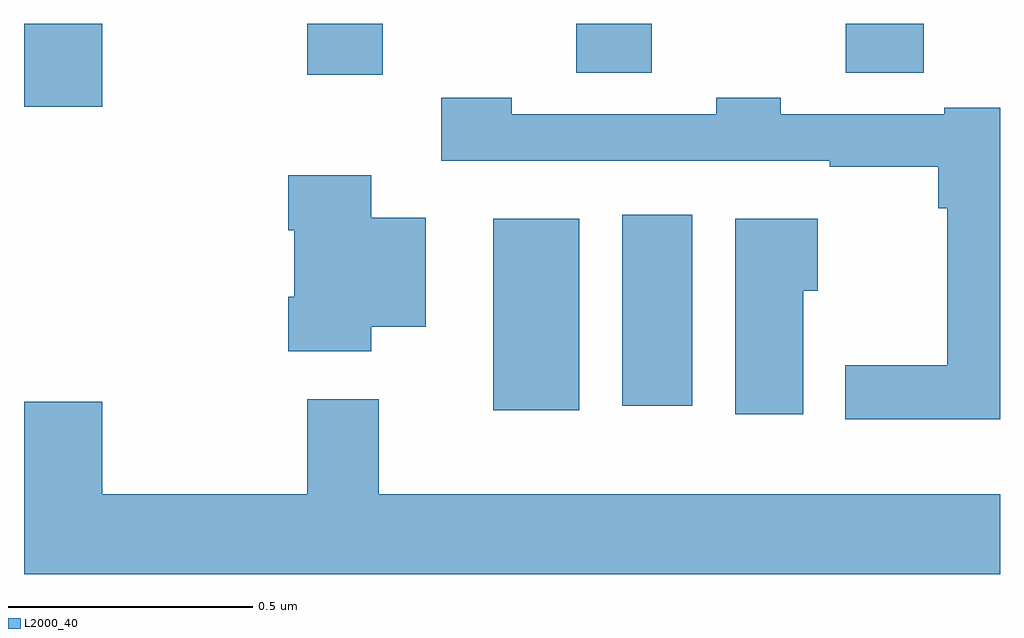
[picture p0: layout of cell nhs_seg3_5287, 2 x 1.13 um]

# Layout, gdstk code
import gdstk
lib = gdstk.Library(unit=1e-6, precision=1e-09)
def R(c, l, rs):  # rectangles x0, y0, x1, y1
    for r in rs: c.add(gdstk.rectangle(r[:2], r[2:], *l))
def P(c, l, *ps):  # polygons
    for p in ps: c.add(gdstk.Polygon(p, *l))
L2000_40 = (2000, 40)

nhs_seg3_5287 = lib.new_cell('nhs_seg3_5287')
R(nhs_seg3_5287, L2000_40, [(177.962,678.608,178.138,679), (178.226,678.617,178.369,679.009), (177,679.23,177.16,679.4), (177.58,679.296,177.735,679.4), (178.132,679.3,178.286,679.4), (178.684,679.3,178.844,679.4)])
P(nhs_seg3_5287, L2000_40, [(179,679.228),(178.886,679.228),(178.886,679.215),(178.551,679.215),(178.551,679.248),(178.419,679.248),(178.419,679.215),(177.999,679.215),(177.999,679.248),(177.855,679.248),(177.855,679.119),(178.651,679.119),(178.651,679.107),(178.873,679.107),(178.873,679.022),(178.892,679.022),(178.892,678.7),(178.683,678.7),(178.683,678.59),(179,678.59)],
  [(177.712,678.779),(177.823,678.779),(177.823,679.003),(177.712,679.003),(177.712,679.09),(177.542,679.09),(177.542,678.977),(177.554,678.977),(177.554,678.841),(177.542,678.841),(177.542,678.729),(177.712,678.729)],
  [(178.597,678.853),(178.627,678.853),(178.627,679),(178.457,679),(178.457,678.6),(178.597,678.6)],
  [(179,678.436),(177.727,678.436),(177.727,678.631),(177.58,678.631),(177.58,678.436),(177.16,678.436),(177.16,678.625),(177,678.625),(177,678.272),(179,678.272)])

lib.write_gds('nhs_seg3_5287.gds')
